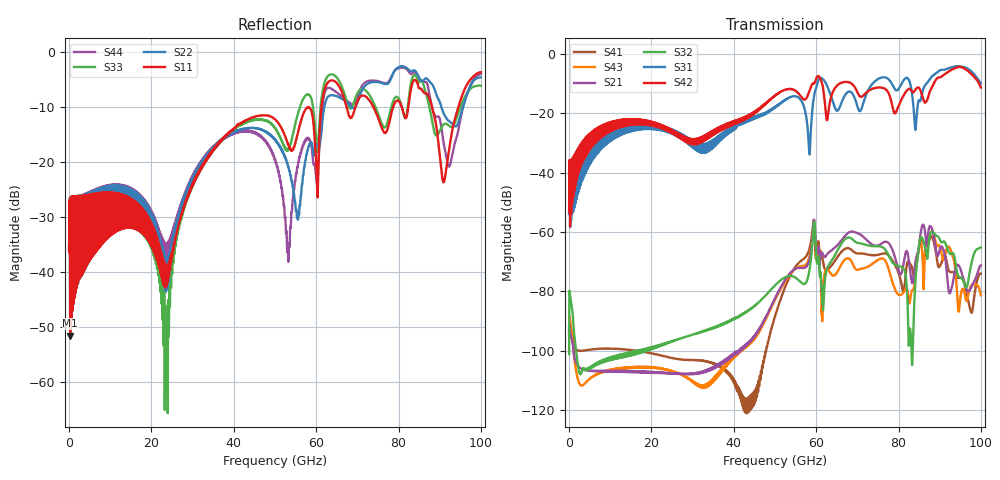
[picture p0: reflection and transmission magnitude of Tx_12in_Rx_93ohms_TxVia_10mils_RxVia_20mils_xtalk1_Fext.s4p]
! Info: Touchstone file created by Circ.  Input file=Tx_12in_Rx_93ohms_TxVia_10mils_RxVia_20mils.circ
# Hz S RI R 50
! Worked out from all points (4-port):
!   10000 points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, 10 MHz to 100 GHz, reference 50 ohm
!   strongest paths, dB at 10 MHz, 25.01 GHz, 50.01 GHz, 75.01 GHz, 100 GHz:
!     S42: -53.2, -26.6, -14.2, -11.4, -11.4
!     S31: -53.9, -26.6, -18.2, -8.6, -10.0
!     S32: -101.1, -96.8, -78.0, -64.8, -65.2
!     S21: -92.4, -107.6, -82.3, -64.5, -71.2
!     S43: -91.6, -106.8, -82.8, -69.4, -81.3
!     S41: -92.2, -102.4, -88.4, -67.7, -74.0
!   lowest |S11| = -51.6 dB at 270 MHz (marker M1), VSWR 1.01, Z = 49.8 - j0.202 ohm
!   |S11| at or under -10 dB: start of sweep to 58.05 GHz; 73.92 GHz to 78.68 GHz (4.761 GHz wide, 6.24 % of centre); 88.13 GHz to 94.51 GHz (6.381 GHz wide, 6.99 % of centre)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
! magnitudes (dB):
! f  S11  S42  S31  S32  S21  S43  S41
! 10 MHz  -36.4  -53.2  -53.9  -101.1  -92.4  -91.6  -92.2
! 270 MHz  -51.6  -47.1  -47.1  -81.7  -93.5  -90.0  -92.3
! 23.71 GHz  -42.4  -24.9  -24.9  -97.6  -107.6  -106.4  -102.0
! 40.78 GHz  -13.3  -23.4  -24.5  -88.6  -100.1  -100.7  -113.3
! 53.15 GHz  -16.7  -11.9  -14.9  -74.9  -74.7  -75.2  -76.3
! 62.64 GHz  -5.7  -22.4  -10.8  -72.4  -67.6  -72.5  -72.6
! 100 GHz  -3.6  -11.4  -10.0  -65.2  -71.2  -81.3  -74.0
